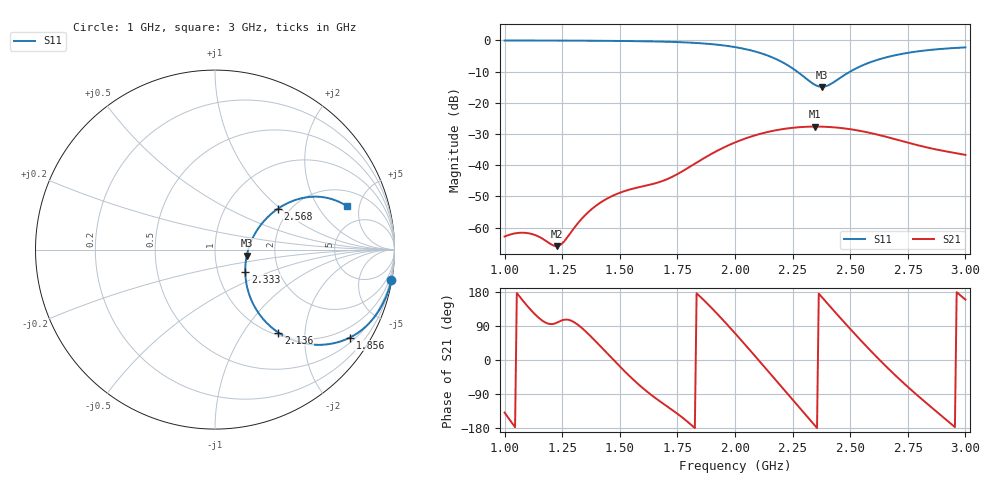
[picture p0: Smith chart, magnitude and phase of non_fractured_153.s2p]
! TOUCHSTONE file generated by CST MICROWAVE STUDIO
! Date and time: Sat Mar  8 13:55:04 2025
! Project name: non_fractured.cst
! Parameters = {B=2.5; D=160; F=25; Feed=2.85625; L=100; M=10; R=0.384908; S=2; Theta=0; length=57.125; wave=114.25}
! Header version: 2024
! Port assignment regex: !\s*Touchstone port\s*([0-9]+)\s*=\s*(CST MWS port|CST DES external port|CST DES block port)\s*(.+)\s* \(\"(.*)\"\)(\s*mode\s*([0-9]+))?.*
! Touchstone port assignment:
! Touchstone port 1 = CST MWS port 1 ("")
! Touchstone port 2 = CST MWS port 2 ("")
# GHz S DB R 50
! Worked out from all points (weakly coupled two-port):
!   265 points, 1 GHz to 3 GHz, reference 50 ohm
!   highest |S21| = -27.64 dB at 2.348 GHz (marker M1); lowest = -66.0 dB at 1.227 GHz (marker M2)
!   lowest |S11| = -14.9 dB at 2.379 GHz (marker M3), VSWR 1.44, Z = 71.3 - j4.86 ohm
!   |S11| at or under -10 dB: 2.27 GHz to 2.5 GHz (229.9 MHz wide, 9.64 % of centre)
!   S12 and S22 are empty: the file has one direction only
!   S11 on the Smith chart (normalised r, x): 1 GHz: 0, -12; 1.856 GHz: 0.65, -3.24; 2.136 GHz: 1.05, -1.46; 2.333 GHz: 1.35, -0.35; 2.568 GHz: 1.74, +0.97; 3 GHz: 3.09, +3.74
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1  -0.02 -9.7  -62.90 -138.7  -200.00 0.0  -200.00 0.0
1.05303  -0.03 -10.5  -61.79 176.8  -200.00 0.0  -200.00 0.0
1.10606  -0.03 -11.2  -61.87 137.3  -200.00 0.0  -200.00 0.0
1.22727  -0.06 -13.1  -65.98 98.6  -200.00 0.0  -200.00 0.0
1.25758  -0.07 -13.7  -64.50 106.1  -200.00 0.0  -200.00 0.0
1.34091  -0.09 -15.2  -56.70 81.5  -200.00 0.0  -200.00 0.0
1.40152  -0.12 -16.5  -52.75 45.3  -200.00 0.0  -200.00 0.0
1.4697  -0.16 -18.1  -49.79 1.9  -200.00 0.0  -200.00 0.0
1.66667  -0.36 -24.1  -45.55 -105.8  -200.00 0.0  -200.00 0.0
1.74242  -0.52 -27.2  -43.18 -138.4  -200.00 0.0  -200.00 0.0
1.85606  -0.94 -33.1  -38.17 163.1  -200.00 0.0  -200.00 0.0
2  -2.15 -42.8  -32.73 70.6  -200.00 0.0  -200.00 0.0
2.13636  -4.71 -52.6  -29.46 -24.3  -200.00 0.0  -200.00 0.0
2.22727  -7.90 -55.5  -28.23 -88.7  -200.00 0.0  -200.00 0.0
2.33333  -13.61 -36.2  -27.65 -163.6  -200.00 0.0  -200.00 0.0
2.34091  -13.98 -32.6  -27.64 -168.9  -200.00 0.0  -200.00 0.0
2.34848  -14.30 -28.7  -27.64 -174.2  -200.00 0.0  -200.00 0.0
2.37879  -14.90 -10.6  -27.67 164.7  -200.00 0.0  -200.00 0.0
2.56818  -7.55 33.0  -29.38 37.4  -200.00 0.0  -200.00 0.0
2.66667  -5.24 31.1  -31.12 -23.4  -200.00 0.0  -200.00 0.0
2.83333  -3.16 24.3  -34.33 -115.0  -200.00 0.0  -200.00 0.0
3  -2.24 18.4  -36.72 159.3  -200.00 0.0  -200.00 0.0
